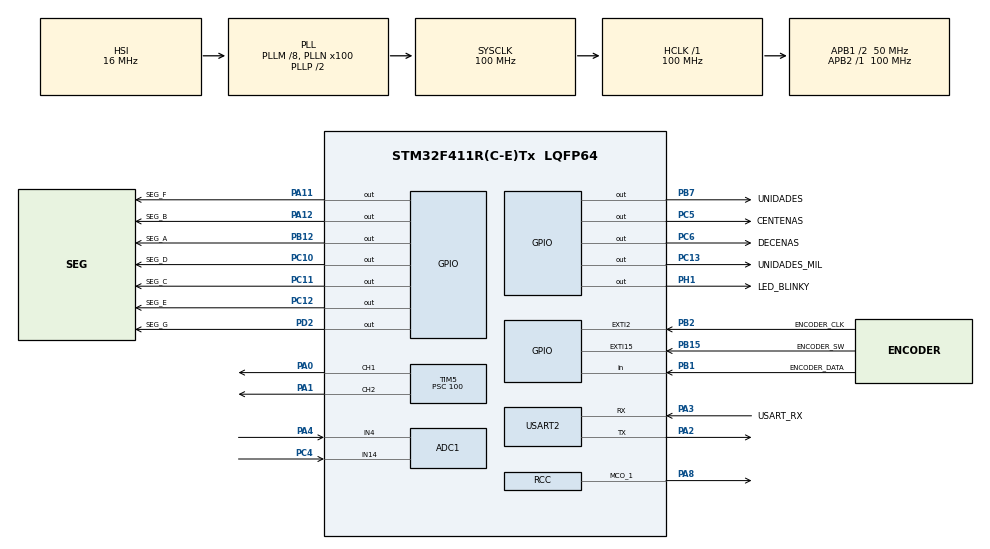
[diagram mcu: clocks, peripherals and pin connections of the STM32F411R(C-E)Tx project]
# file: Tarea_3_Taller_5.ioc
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ADC1.Channel-2\#ChannelRegularConversion=ADC_CHANNEL_4
ADC1.Channel-3\#ChannelRegularConversion=ADC_CHANNEL_14
ADC1.ContinuousConvMode=DISABLE
ADC1.DMAContinuousRequests=ENABLE
ADC1.ExternalTrigConv=ADC_SOFTWARE_START
ADC1.InjNumberOfConversion=0
ADC1.NbrOfConversion=2
ADC1.NbrOfConversionFlag=1
ADC1.Rank-2\#ChannelRegularConversion=1
ADC1.Rank-3\#ChannelRegularConversion=2
ADC1.SamplingTime-2\#ChannelRegularConversion=ADC_SAMPLETIME_15CYCLES
ADC1.SamplingTime-3\#ChannelRegularConversion=ADC_SAMPLETIME_15CYCLES
ADC1.ScanConvMode=ENABLE
ADC1.master=1
Dma.ADC1.0.Direction=DMA_PERIPH_TO_MEMORY
Dma.ADC1.0.FIFOMode=DMA_FIFOMODE_DISABLE
Dma.ADC1.0.Instance=DMA2_Stream0
Dma.ADC1.0.MemDataAlignment=DMA_MDATAALIGN_HALFWORD
Dma.ADC1.0.MemInc=DMA_MINC_ENABLE
Dma.ADC1.0.Mode=DMA_CIRCULAR
Dma.ADC1.0.PeriphDataAlignment=DMA_PDATAALIGN_HALFWORD
Dma.ADC1.0.PeriphInc=DMA_PINC_DISABLE
Dma.ADC1.0.Priority=DMA_PRIORITY_LOW
Dma.Request0=ADC1
Dma.Request1=USART2_RX
Dma.USART2_RX.1.Direction=DMA_PERIPH_TO_MEMORY
Dma.USART2_RX.1.FIFOMode=DMA_FIFOMODE_DISABLE
Dma.USART2_RX.1.Instance=DMA1_Stream5
Dma.USART2_RX.1.MemDataAlignment=DMA_MDATAALIGN_BYTE
Dma.USART2_RX.1.MemInc=DMA_MINC_ENABLE
Dma.USART2_RX.1.Mode=DMA_NORMAL
Dma.USART2_RX.1.PeriphDataAlignment=DMA_PDATAALIGN_BYTE
Dma.USART2_RX.1.PeriphInc=DMA_PINC_DISABLE
Dma.USART2_RX.1.Priority=DMA_PRIORITY_LOW
Mcu.Family=STM32F4
Mcu.Name=STM32F411R(C-E)Tx
Mcu.Package=LQFP64
NVIC.DMA1_Stream5_IRQn=true\:0\:0\:false\:false\:true\:false\:true\:true
NVIC.DMA2_Stream0_IRQn=true\:0\:0\:false\:false\:true\:false\:true\:true
NVIC.EXTI15_10_IRQn=true\:0\:0\:false\:false\:true\:true\:true\:true
NVIC.EXTI2_IRQn=true\:0\:0\:false\:false\:true\:true\:true\:true
NVIC.PriorityGroup=NVIC_PRIORITYGROUP_0
NVIC.TIM2_IRQn=true\:0\:0\:false\:false\:true\:true\:true\:true
NVIC.TIM3_IRQn=true\:0\:0\:false\:false\:true\:true\:true\:true
NVIC.USART2_IRQn=true\:0\:0\:false\:false\:true\:true\:true\:true
PA0-WKUP.Signal=S_TIM5_CH1
PA1.Signal=S_TIM5_CH2
PA11.GPIO_Label=SEG_F
PA11.GPIO_Speed=GPIO_SPEED_FREQ_HIGH
PA11.Signal=GPIO_Output
PA12.GPIO_Label=SEG_B
PA12.GPIO_Speed=GPIO_SPEED_FREQ_HIGH
PA12.Signal=GPIO_Output
PA14.GPIO_Label=TCK
PA14.Signal=SYS_JTCK-SWCLK
PA2.Mode=Asynchronous
PA2.Signal=USART2_TX
PA3.GPIO_Label=USART_RX
PA3.Mode=Asynchronous
PA3.Signal=USART2_RX
PA4.Signal=ADCx_IN4
PA8.GPIO_PuPd=GPIO_NOPULL
PA8.GPIO_Speed=GPIO_SPEED_FREQ_VERY_HIGH
PA8.Mode=Clock-out-1
PA8.Signal=RCC_MCO_1
PB1.GPIO_Label=ENCODER_DATA
PB1.Signal=GPIO_Input
PB12.GPIO_Label=SEG_A
PB12.GPIO_Speed=GPIO_SPEED_FREQ_HIGH
PB12.Signal=GPIO_Output
PB15.GPIO_Label=ENCODER_SW
PB15.GPIO_ModeDefaultEXTI=GPIO_MODE_IT_FALLING
PB15.Signal=GPXTI15
PB2.GPIO_Label=ENCODER_CLK
PB2.GPIO_ModeDefaultEXTI=GPIO_MODE_IT_FALLING
PB2.Signal=GPXTI2
PB3.GPIO_Label=SWO
PB3.Signal=SYS_JTDO-SWO
PB7.GPIO_Label=UNIDADES
PB7.GPIO_Speed=GPIO_SPEED_FREQ_HIGH
PB7.Signal=GPIO_Output
PC10.GPIO_Label=SEG_D
PC10.GPIO_Speed=GPIO_SPEED_FREQ_HIGH
PC10.Signal=GPIO_Output
PC11.GPIO_Label=SEG_C
PC11.GPIO_Speed=GPIO_SPEED_FREQ_HIGH
PC11.Signal=GPIO_Output
PC12.GPIO_Label=SEG_E
PC12.GPIO_Speed=GPIO_SPEED_FREQ_HIGH
PC12.Signal=GPIO_Output
PC13-ANTI_TAMP.GPIO_Label=UNIDADES_MIL
PC13-ANTI_TAMP.Signal=GPIO_Output
PC4.Signal=ADCx_IN14
PC5.GPIO_Label=CENTENAS
PC5.GPIO_Speed=GPIO_SPEED_FREQ_HIGH
PC5.Signal=GPIO_Output
PC6.GPIO_Label=DECENAS
PC6.GPIO_Speed=GPIO_SPEED_FREQ_HIGH
PC6.Signal=GPIO_Output
PD2.GPIO_Label=SEG_G
PD2.GPIO_Speed=GPIO_SPEED_FREQ_HIGH
PD2.Signal=GPIO_Output
PH1\ -\ OSC_OUT.GPIO_Label=LED_BLINKY
PH1\ -\ OSC_OUT.GPIO_Speed=GPIO_SPEED_FREQ_HIGH
PH1\ -\ OSC_OUT.Signal=GPIO_Output
ProjectManager.HeapSize=0x200
ProjectManager.StackSize=0x400
ProjectManager.TargetToolchain=STM32CubeIDE
RCC.48MHZClocksFreq_Value=50000000
RCC.AHBFreq_Value=100000000
RCC.APB1CLKDivider=RCC_HCLK_DIV2
RCC.APB1Freq_Value=50000000
RCC.APB1TimFreq_Value=100000000
RCC.APB2Freq_Value=100000000
RCC.APB2TimFreq_Value=100000000
RCC.CortexFreq_Value=100000000
RCC.FLatency-AdvancedSettings=FLASH_LATENCY_3
RCC.HCLKFreq_Value=100000000
RCC.HSE_VALUE=8000000
RCC.HSI_VALUE=16000000
RCC.LSE_VALUE=32768
RCC.PLLM=8
RCC.PLLN=100
RCC.RCC_MCO1Source=RCC_MCO1SOURCE_PLLCLK
RCC.RCC_MCODiv1=RCC_MCODIV_4
RCC.SYSCLKFreq_VALUE=100000000
RCC.SYSCLKSource=RCC_SYSCLKSOURCE_PLLCLK
RCC.VCOOutputFreq_Value=200000000
SH.ADCx_IN14.0=ADC1_IN14,IN14
SH.ADCx_IN4.0=ADC1_IN4,IN4
SH.S_TIM5_CH1.0=TIM5_CH1,PWM Generation1 CH1
SH.S_TIM5_CH2.0=TIM5_CH2,PWM Generation2 CH2
TIM2.Period=9999
TIM2.Prescaler=9999
TIM3.AutoReloadPreload=TIM_AUTORELOAD_PRELOAD_ENABLE
TIM3.Period=8
TIM3.Prescaler=50000
TIM5.AutoReloadPreload=TIM_AUTORELOAD_PRELOAD_ENABLE
TIM5.Channel-PWM\ Generation1\ CH1=TIM_CHANNEL_1
TIM5.Channel-PWM\ Generation2\ CH2=TIM_CHANNEL_2
TIM5.Period=10000
TIM5.Prescaler=100
USART2.VirtualMode=VM_ASYNC
VP_TIM2_VS_ClockSourceINT.Mode=Internal
VP_TIM3_VS_ClockSourceINT.Mode=Internal
board=NUCLEO-F411RE

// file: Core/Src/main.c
/* USER CODE BEGIN Header */
/**
 ******************************************************************************
 * @file           : main.c
 * @brief          : Main program body
 ******************************************************************************
 * @attention
 *
 * Copyright (c) 2025 STMicroelectronics.
 * All rights reserved.
 *
 * This software is licensed under terms that can be found in the LICENSE file
 * in the root directory of this software component.
 * If no LICENSE file comes with this software, it is provided AS-IS.
 *
 ******************************************************************************
 */
/* USER CODE END Header */
#include "main.h"

/* USER CODE BEGIN Includes */
#include <stdio.h>    // Para printf
#include <string.h>   // Para strcmp, strtok
#include <stdlib.h>   // Para atof, atoi
/* USER CODE END Includes */

/* USER CODE BEGIN PTD */
typedef enum {
	ESTADO_MENU,
	ESTADO_CONFIG_BJT,
	ESTADO_EJECUTANDO_BJT
} Estado_App_t;

// Modos de operación BJT
typedef enum {
	BJT_MODO_ICVB,  // Ic vs Vb (barrer base, fijar colector)
	BJT_MODO_ICVC   // Ic vs Vc (barrer colector, fijar base)
} BJT_Modo_t;

// Configuración de barrido BJT
typedef struct {
	BJT_Modo_t modo;
	float vb_fijo_mv;
	float vc_fijo_mv;
	float v_inicio_mv;
	float v_fin_mv;
	float v_paso_mv;
	uint16_t puntos;
} Config_BJT_t;

// Comandos disponibles
typedef enum {
	CMD_AYUDA,
	CMD_BJT,
	CMD_MODO,
	CMD_ESTABLECER,
	CMD_MOSTRAR,
	CMD_EJECUTAR,
	CMD_VOLVER,
	CMD_DESCONOCIDO
} Comando_ID_t;

// Estructura para la tabla de comandos
typedef struct {
	const char* texto;
	Comando_ID_t id;
} Tabla_Comando_t;

// Tabla de comandos
static const Tabla_Comando_t COMANDOS[] = {
		{"ayuda",      CMD_AYUDA},
		{"bjt",        CMD_BJT},
		{"modo",       CMD_MODO},
		{"establecer", CMD_ESTABLECER},
		{"mostrar",    CMD_MOSTRAR},
		{"ejecutar",   CMD_EJECUTAR},
		{"volver",     CMD_VOLVER}
};
/* USER CODE END PTD */

/* USER CODE BEGIN PD */
#define UART_RX_BUFFER_SIZE 128 // Tamaño del buffer de recepción UART
#define NUM_COMANDOS (sizeof(COMANDOS) / sizeof(COMANDOS[0]))

/* USER CODE END PD */

ADC_HandleTypeDef hadc1;
DMA_HandleTypeDef hdma_adc1;

TIM_HandleTypeDef htim2;
TIM_HandleTypeDef htim3;
TIM_HandleTypeDef htim5;

UART_HandleTypeDef huart2;
DMA_HandleTypeDef hdma_usart2_rx;

/* USER CODE BEGIN PV */

// Definir variables
volatile uint8_t TIMER_ADVISORY_FLAG = 0; // bandera para indicar que el timer ha interrumpido
volatile uint8_t EXTI_AVISORY_FLAG = 0; // bandera para indicar que el EXTI ha interrumpido
volatile uint8_t EXTI_AVISORY_LED_FLAG = 0;
//Se inicia en 0
uint16_t Tarifa = 0; // variable que guarda la tarifa actual
uint8_t Unidad_mil = 0;// variable que guarda las unidades de mil
uint8_t Centenas = 0; // variable que guarda las centenas
uint8_t Decenas = 0; // variable que guarda las decenas
uint8_t Unidades = 0;// variable que guarda las unidades

volatile uint16_t g_adc_resultados[2];
// Ping-pong DMA RX buffers (zero-copy processing)
uint8_t g_uart_rx_buffer_a[UART_RX_BUFFER_SIZE];
uint8_t g_uart_rx_buffer_b[UART_RX_BUFFER_SIZE];
// Pointer/length pair used as ISR -> main handshake
volatile uint8_t* g_uart_proc_buffer = NULL; // points to A or B when data ready
volatile uint16_t g_uart_proc_len = 0;        // number of valid bytes in buffer
volatile uint8_t g_uart_dma_active = 0;      // 0 = A active, 1 = B active

static Estado_App_t g_estado = ESTADO_MENU;
static Config_BJT_t g_config = {
		.modo = BJT_MODO_ICVB,
		.vb_fijo_mv = 0.0f,
		.vc_fijo_mv = 0.0f,
		.v_inicio_mv = 0.0f,
		.v_fin_mv = 0.0f,
		.v_paso_mv = 0.0f,
		.puntos = 0
};
DMA_HandleTypeDef hdma_usart2_rx;

/* USER CODE END PV */

void SystemClock_Config(void);
static void MX_GPIO_Init(void);
static void MX_DMA_Init(void);
static void MX_TIM2_Init(void);
static void MX_TIM3_Init(void);
static void MX_ADC1_Init(void);
static void MX_TIM5_Init(void);
static void MX_USART2_UART_Init(void);
/* USER CODE BEGIN PFP */
void lightNumber(uint8_t number);
static void mostrar_menu_principal(void);
static void mostrar_config_bjt(void);
static Comando_ID_t buscar_comando(const char* texto);
static void analizar_y_ejecutar_comando(uint8_t* buffer, uint16_t tam);
static void despachar_comando(Comando_ID_t id, char* params);
static void manejar_menu(Comando_ID_t id, char* params);
static void manejar_config_bjt(Comando_ID_t id, char* params);
static void manejar_ejecucion_bjt(Comando_ID_t id);
static void tick_barrido_bjt(void);

static uint16_t leer_canal_adc(uint32_t channel);
extern void setear_voltaje_base_mv(float v);
extern void setear_voltaje_colector_mv(float v);
extern float leer_voltaje_base_mv(void);
extern float leer_voltaje_colector_mv(void);
extern float leer_corriente_colector_ma(void);
/* USER CODE END PFP */

/* USER CODE BEGIN 0 */

// Redirección de printf a UART2
#ifdef __GNUC__
/* Con GCC, small printf set a unbuffered output */
#define PUTCHAR_PROTOTYPE int __io_putchar(int ch)
#else
#define PUTCHAR_PROTOTYPE int fputc(int ch, FILE *f)
#endif /* __GNUC__ */

PUTCHAR_PROTOTYPE
{
	HAL_UART_Transmit(&huart2, (uint8_t *)&ch, 1, 0xFFFF);
	return ch;
}

int _write(int file, char *ptr, int len)
{
	HAL_UART_Transmit(&huart2, (uint8_t *)ptr, len, 0xFFFF);
	return len;
}

/* USER CODE END 0 */

int main(void)
{

  /* MCU Configuration--------------------------------------------------------*/

  /* Reset of all peripherals, Initializes the Flash interface and the Systick. */
  HAL_Init();

  /* Configure the system clock */
  SystemClock_Config();

  /* Initialize all configured peripherals */
  MX_GPIO_Init();
  MX_DMA_Init();
  MX_TIM2_Init();
  MX_TIM3_Init();
  MX_ADC1_Init();
  MX_TIM5_Init();
  MX_USART2_UART_Init();
  /* USER CODE BEGIN 2 */
	HAL_TIM_Base_Start_IT(&htim2); // Tu Blinky
	HAL_TIM_Base_Start_IT(&htim3); // Tu Display

	HAL_NVIC_EnableIRQ(EXTI15_10_IRQn);
	HAL_NVIC_EnableIRQ(EXTI2_IRQn);

	// --- INICIAR NUEVO HARDWARE ---
	// Iniciar AMBOS canales del TIM5
	HAL_TIM_PWM_Start(&htim5, TIM_CHANNEL_1); // Vc en Canal 1
	HAL_TIM_PWM_Start(&htim5, TIM_CHANNEL_2); // Vb en Canal 2

	// Iniciar el ADC en modo DMA circular
	HAL_ADC_Start_DMA(&hadc1, (uint32_t*)g_adc_resultados, 2);

	// --- INICIAR UART DMA (ping-pong: empezar en buffer A) ---
	// Se arranca la recepción en el buffer A; el callback cambiará al otro.
	g_uart_dma_active = 0; // DMA escribirá en A
	HAL_UARTEx_ReceiveToIdle_DMA(&huart2, g_uart_rx_buffer_a, UART_RX_BUFFER_SIZE);

	mostrar_menu_principal(); // Mostrar menú al inicio

  /* USER CODE END 2 */

  /* Infinite loop */
  /* USER CODE BEGIN WHILE */
	while (1)
	{

		if (TIMER_ADVISORY_FLAG) //trabajo del timer dentro del while
		{
			static uint8_t contador = 0;
			contador++;
			if (contador > 3) contador = 0; // reiniciar el contador cada 3 interrupciones
			HAL_GPIO_WritePin(UNIDADES_GPIO_Port, UNIDADES_Pin, GPIO_PIN_SET);
			HAL_GPIO_WritePin(DECENAS_GPIO_Port, DECENAS_Pin, GPIO_PIN_SET);
			HAL_GPIO_WritePin(CENTENAS_GPIO_Port, CENTENAS_Pin, GPIO_PIN_SET);
			HAL_GPIO_WritePin(UNIDADES_MIL_GPIO_Port, UNIDADES_MIL_Pin, GPIO_PIN_SET);

			switch(contador){
			case 0:
				// encender unidades
				lightNumber(Unidades); // llamar a la función para encender el número
				HAL_GPIO_WritePin(UNIDADES_GPIO_Port, UNIDADES_Pin, GPIO_PIN_RESET);

				break;
			case 1:
				// encender decenas
				lightNumber(Decenas); // llamar a la función para encender el número
				HAL_GPIO_WritePin(DECENAS_GPIO_Port, DECENAS_Pin, GPIO_PIN_RESET);
				break;
			case 2:
				// encender centenas
				lightNumber(Centenas); // llamar a la función para encender el número
				HAL_GPIO_WritePin(CENTENAS_GPIO_Port, CENTENAS_Pin, GPIO_PIN_RESET);
				break;
			case 3:
				// encender unidades de mil
				lightNumber(Unidad_mil); // llamar a la función para encender el número
				HAL_GPIO_WritePin(UNIDADES_MIL_GPIO_Port, UNIDADES_MIL_Pin, GPIO_PIN_RESET);
				break;
			default:
				break;
			}
			TIMER_ADVISORY_FLAG = 0; // bajar la bandera de interrupción
		}

		if (EXTI_AVISORY_LED_FLAG)
		{

			// El incremento es 50 (equivale a 5ms con tick de 10kHz)
			htim3.Instance->ARR += 50;

			// El valor de reseteo es 509 (59 + 9 * 50)
			if (htim3.Instance->ARR > 509) // Usar '>' por seguridad
			{
				// El valor base es 59 (equivale a 6ms)
				htim3.Instance->ARR = 59;
			}
			EXTI_AVISORY_LED_FLAG = 0;
		}

		if (EXTI_AVISORY_FLAG) //trabajo del EXTI dentro del while
		{
			EXTI_AVISORY_FLAG = 0; // bajar la bandera de interrupción

			//Revisar el estado del pin DT para determinar la dirección del giro
			if (HAL_GPIO_ReadPin(ENCODER_DATA_GPIO_Port, ENCODER_DATA_Pin) == GPIO_PIN_SET){
				Tarifa++; // incrementar la tarifa
				if (Tarifa > 4095) Tarifa = 0; // reiniciar la tarifa si supera 4095
			} else {
				if (Tarifa > 0) Tarifa--; // decrementar la tarifa
				else if (Tarifa == 0) Tarifa = 4095; // reiniciar si la tarifa es igual a 0
			}
			// actualizar las variables de las cifras de la tarifa
			Unidad_mil = Tarifa / 1000;
			Centenas = (Tarifa % 1000) / 100;
			Decenas = (Tarifa % 100) / 10;
			Unidades = Tarifa % 10;
			//Dentro de la rutina de servicio de interrupción del EXTI no se debe hacer nada más que subir una bandera
			//y hacer el trabajo pesado en el while principal

		}

		// --- Nuevo flujo ping-pong: procesar buffer marcado por ISR ---
		if (g_uart_proc_len > 0 && g_uart_proc_buffer != NULL)
		{
			// Claim the packet: copy volatile values to locals, then clear the shared ones
			uint8_t* proc_buf = (uint8_t*)g_uart_proc_buffer;
			uint16_t len = g_uart_proc_len;

			// Clear handshake immediately to mark "consumed"
			g_uart_proc_buffer = NULL;
			g_uart_proc_len = 0;

			// Ensure null-termination for safe C-string operations
			if (len >= UART_RX_BUFFER_SIZE) {
				proc_buf[UART_RX_BUFFER_SIZE - 1] = '\0';
			} else {
				proc_buf[len] = '\0';
			}

			printf("\r\n");
			analizar_y_ejecutar_comando(proc_buf, len);
		}

		/* --- Tarea 3: Máquina de Estados BJT (No bloqueante) --- */
		// Esta función solo hace trabajo si g_estado == ESTADO_EJECUTANDO_BJT
		tick_barrido_bjt();

    /* USER CODE END WHILE */

	}
}

void SystemClock_Config(void)
{
  RCC_OscInitTypeDef RCC_OscInitStruct = {0};
  RCC_ClkInitTypeDef RCC_ClkInitStruct = {0};

  /** Configure the main internal regulator output voltage
  */
  __HAL_RCC_PWR_CLK_ENABLE();
  __HAL_PWR_VOLTAGESCALING_CONFIG(PWR_REGULATOR_VOLTAGE_SCALE1);

  /** Initializes the RCC Oscillators according to the specified parameters
  * in the RCC_OscInitTypeDef structure.
  */
  RCC_OscInitStruct.OscillatorType = RCC_OSCILLATORTYPE_HSI;
  RCC_OscInitStruct.HSIState = RCC_HSI_ON;
  RCC_OscInitStruct.HSICalibrationValue = RCC_HSICALIBRATION_DEFAULT;
  RCC_OscInitStruct.PLL.PLLState = RCC_PLL_ON;
  RCC_OscInitStruct.PLL.PLLSource = RCC_PLLSOURCE_HSI;
  RCC_OscInitStruct.PLL.PLLM = 8;
  RCC_OscInitStruct.PLL.PLLN = 100;
  RCC_OscInitStruct.PLL.PLLP = RCC_PLLP_DIV2;
  RCC_OscInitStruct.PLL.PLLQ = 4;
  if (HAL_RCC_OscConfig(&RCC_OscInitStruct) != HAL_OK)
  {
    Error_Handler();
  }

  /** Initializes the CPU, AHB and APB buses clocks
  */
  RCC_ClkInitStruct.ClockType = RCC_CLOCKTYPE_HCLK|RCC_CLOCKTYPE_SYSCLK
                              |RCC_CLOCKTYPE_PCLK1|RCC_CLOCKTYPE_PCLK2;
  RCC_ClkInitStruct.SYSCLKSource = RCC_SYSCLKSOURCE_PLLCLK;
  RCC_ClkInitStruct.AHBCLKDivider = RCC_SYSCLK_DIV1;
  RCC_ClkInitStruct.APB1CLKDivider = RCC_HCLK_DIV2;
  RCC_ClkInitStruct.APB2CLKDivider = RCC_HCLK_DIV1;

  if (HAL_RCC_ClockConfig(&RCC_ClkInitStruct, FLASH_LATENCY_3) != HAL_OK)
  {
    Error_Handler();
  }
  HAL_RCC_MCOConfig(RCC_MCO1, RCC_MCO1SOURCE_PLLCLK, RCC_MCODIV_4);
}

static void MX_ADC1_Init(void)
{

  ADC_ChannelConfTypeDef sConfig = {0};

  /** Configure the global features of the ADC (Clock, Resolution, Data Alignment and number of conversion)
  */
  hadc1.Instance = ADC1;
  hadc1.Init.ClockPrescaler = ADC_CLOCK_SYNC_PCLK_DIV4;
  hadc1.Init.Resolution = ADC_RESOLUTION_12B;
  hadc1.Init.ScanConvMode = ENABLE;
  hadc1.Init.ContinuousConvMode = DISABLE;
  hadc1.Init.DiscontinuousConvMode = DISABLE;
  hadc1.Init.ExternalTrigConvEdge = ADC_EXTERNALTRIGCONVEDGE_NONE;
  hadc1.Init.ExternalTrigConv = ADC_SOFTWARE_START;
  hadc1.Init.DataAlign = ADC_DATAALIGN_RIGHT;
  hadc1.Init.NbrOfConversion = 2;
  hadc1.Init.DMAContinuousRequests = ENABLE;
  hadc1.Init.EOCSelection = ADC_EOC_SINGLE_CONV;
  if (HAL_ADC_Init(&hadc1) != HAL_OK)
  {
    Error_Handler();
  }

  /** Configure for the selected ADC regular channel its corresponding rank in the sequencer and its sample time.
  */
  sConfig.Channel = ADC_CHANNEL_4;
  sConfig.Rank = 1;
  sConfig.SamplingTime = ADC_SAMPLETIME_15CYCLES;
  if (HAL_ADC_ConfigChannel(&hadc1, &sConfig) != HAL_OK)
  {
    Error_Handler();
  }

  /** Configure for the selected ADC regular channel its corresponding rank in the sequencer and its sample time.
  */
  sConfig.Channel = ADC_CHANNEL_14;
  sConfig.Rank = 2;
  if (HAL_ADC_ConfigChannel(&hadc1, &sConfig) != HAL_OK)
  {
    Error_Handler();
  }

}

static void MX_TIM2_Init(void)
{

  TIM_ClockConfigTypeDef sClockSourceConfig = {0};
  TIM_MasterConfigTypeDef sMasterConfig = {0};

  htim2.Instance = TIM2;
  htim2.Init.Prescaler = 9999;
  htim2.Init.CounterMode = TIM_COUNTERMODE_UP;
  htim2.Init.Period = 9999;
  htim2.Init.ClockDivision = TIM_CLOCKDIVISION_DIV1;
  htim2.Init.AutoReloadPreload = TIM_AUTORELOAD_PRELOAD_DISABLE;
  if (HAL_TIM_Base_Init(&htim2) != HAL_OK)
  {
    Error_Handler();
  }
  sClockSourceConfig.ClockSource = TIM_CLOCKSOURCE_INTERNAL;
  if (HAL_TIM_ConfigClockSource(&htim2, &sClockSourceConfig) != HAL_OK)
  {
    Error_Handler();
  }
  sMasterConfig.MasterOutputTrigger = TIM_TRGO_RESET;
  sMasterConfig.MasterSlaveMode = TIM_MASTERSLAVEMODE_DISABLE;
  if (HAL_TIMEx_MasterConfigSynchronization(&htim2, &sMasterConfig) != HAL_OK)
  {
    Error_Handler();
  }

}

static void MX_TIM3_Init(void)
{

  TIM_ClockConfigTypeDef sClockSourceConfig = {0};
  TIM_MasterConfigTypeDef sMasterConfig = {0};

  htim3.Instance = TIM3;
  htim3.Init.Prescaler = 50000;
  htim3.Init.CounterMode = TIM_COUNTERMODE_UP;
  htim3.Init.Period = 8;
  htim3.Init.ClockDivision = TIM_CLOCKDIVISION_DIV1;
  htim3.Init.AutoReloadPreload = TIM_AUTORELOAD_PRELOAD_ENABLE;
  if (HAL_TIM_Base_Init(&htim3) != HAL_OK)
  {
    Error_Handler();
  }
  sClockSourceConfig.ClockSource = TIM_CLOCKSOURCE_INTERNAL;
  if (HAL_TIM_ConfigClockSource(&htim3, &sClockSourceConfig) != HAL_OK)
  {
    Error_Handler();
  }
  sMasterConfig.MasterOutputTrigger = TIM_TRGO_RESET;
  sMasterConfig.MasterSlaveMode = TIM_MASTERSLAVEMODE_DISABLE;
  if (HAL_TIMEx_MasterConfigSynchronization(&htim3, &sMasterConfig) != HAL_OK)
  {
    Error_Handler();
  }

}

static void MX_TIM5_Init(void)
{

  TIM_MasterConfigTypeDef sMasterConfig = {0};
  TIM_OC_InitTypeDef sConfigOC = {0};

  htim5.Instance = TIM5;
  htim5.Init.Prescaler = 100;
  htim5.Init.CounterMode = TIM_COUNTERMODE_UP;
  htim5.Init.Period = 10000;
  htim5.Init.ClockDivision = TIM_CLOCKDIVISION_DIV1;
  htim5.Init.AutoReloadPreload = TIM_AUTORELOAD_PRELOAD_ENABLE;
  if (HAL_TIM_PWM_Init(&htim5) != HAL_OK)
  {
    Error_Handler();
  }
  sMasterConfig.MasterOutputTrigger = TIM_TRGO_RESET;
  sMasterConfig.MasterSlaveMode = TIM_MASTERSLAVEMODE_DISABLE;
  if (HAL_TIMEx_MasterConfigSynchronization(&htim5, &sMasterConfig) != HAL_OK)
  {
    Error_Handler();
  }
  sConfigOC.OCMode = TIM_OCMODE_PWM1;
  sConfigOC.Pulse = 0;
  sConfigOC.OCPolarity = TIM_OCPOLARITY_HIGH;
  sConfigOC.OCFastMode = TIM_OCFAST_DISABLE;
  if (HAL_TIM_PWM_ConfigChannel(&htim5, &sConfigOC, TIM_CHANNEL_1) != HAL_OK)
  {
    Error_Handler();
  }
  if (HAL_TIM_PWM_ConfigChannel(&htim5, &sConfigOC, TIM_CHANNEL_2) != HAL_OK)
  {
    Error_Handler();
  }
  HAL_TIM_MspPostInit(&htim5);

}

static void MX_USART2_UART_Init(void)
{

  huart2.Instance = USART2;
  huart2.Init.BaudRate = 115200;
  huart2.Init.WordLength = UART_WORDLENGTH_8B;
  huart2.Init.StopBits = UART_STOPBITS_1;
  huart2.Init.Parity = UART_PARITY_NONE;
  huart2.Init.Mode = UART_MODE_TX_RX;
  huart2.Init.HwFlowCtl = UART_HWCONTROL_NONE;
  huart2.Init.OverSampling = UART_OVERSAMPLING_16;
  if (HAL_UART_Init(&huart2) != HAL_OK)
  {
    Error_Handler();
  }

}

static void MX_DMA_Init(void)
{

  /* DMA controller clock enable */
  __HAL_RCC_DMA2_CLK_ENABLE();
  __HAL_RCC_DMA1_CLK_ENABLE();

  /* DMA interrupt init */
  /* DMA1_Stream5_IRQn interrupt configuration */
  HAL_NVIC_SetPriority(DMA1_Stream5_IRQn, 0, 0);
  HAL_NVIC_EnableIRQ(DMA1_Stream5_IRQn);
  /* DMA2_Stream0_IRQn interrupt configuration */
  HAL_NVIC_SetPriority(DMA2_Stream0_IRQn, 0, 0);
  HAL_NVIC_EnableIRQ(DMA2_Stream0_IRQn);

}

static void MX_GPIO_Init(void)
{
  GPIO_InitTypeDef GPIO_InitStruct = {0};

  /* GPIO Ports Clock Enable */
  __HAL_RCC_GPIOC_CLK_ENABLE();
  __HAL_RCC_GPIOH_CLK_ENABLE();
  __HAL_RCC_GPIOA_CLK_ENABLE();
  __HAL_RCC_GPIOB_CLK_ENABLE();
  __HAL_RCC_GPIOD_CLK_ENABLE();

  /*Configure GPIO pin Output Level */
  HAL_GPIO_WritePin(GPIOC, UNIDADES_MIL_Pin|CENTENAS_Pin|DECENAS_Pin|SEG_D_Pin
                          |SEG_C_Pin|SEG_E_Pin, GPIO_PIN_RESET);

  /*Configure GPIO pin Output Level */
  HAL_GPIO_WritePin(LED_BLINKY_GPIO_Port, LED_BLINKY_Pin, GPIO_PIN_RESET);

  /*Configure GPIO pin Output Level */
  HAL_GPIO_WritePin(GPIOB, SEG_A_Pin|UNIDADES_Pin, GPIO_PIN_RESET);

  /*Configure GPIO pin Output Level */
  HAL_GPIO_WritePin(GPIOA, SEG_F_Pin|SEG_B_Pin, GPIO_PIN_RESET);

  /*Configure GPIO pin Output Level */
  HAL_GPIO_WritePin(SEG_G_GPIO_Port, SEG_G_Pin, GPIO_PIN_RESET);

  /*Configure GPIO pin : UNIDADES_MIL_Pin */
  GPIO_InitStruct.Pin = UNIDADES_MIL_Pin;
  GPIO_InitStruct.Mode = GPIO_MODE_OUTPUT_PP;
  GPIO_InitStruct.Pull = GPIO_NOPULL;
  GPIO_InitStruct.Speed = GPIO_SPEED_FREQ_LOW;
  HAL_GPIO_Init(UNIDADES_MIL_GPIO_Port, &GPIO_InitStruct);

  /*Configure GPIO pin : LED_BLINKY_Pin */
  GPIO_InitStruct.Pin = LED_BLINKY_Pin;
  GPIO_InitStruct.Mode = GPIO_MODE_OUTPUT_PP;
  GPIO_InitStruct.Pull = GPIO_NOPULL;
  GPIO_InitStruct.Speed = GPIO_SPEED_FREQ_HIGH;
  HAL_GPIO_Init(LED_BLINKY_GPIO_Port, &GPIO_InitStruct);

  /*Configure GPIO pins : CENTENAS_Pin DECENAS_Pin SEG_D_Pin SEG_C_Pin
                           SEG_E_Pin */
  GPIO_InitStruct.Pin = CENTENAS_Pin|DECENAS_Pin|SEG_D_Pin|SEG_C_Pin
                          |SEG_E_Pin;
  GPIO_InitStruct.Mode = GPIO_MODE_OUTPUT_PP;
  GPIO_InitStruct.Pull = GPIO_NOPULL;
  GPIO_InitStruct.Speed = GPIO_SPEED_FREQ_HIGH;
  HAL_GPIO_Init(GPIOC, &GPIO_InitStruct);

  /*Configure GPIO pin : ENCODER_DATA_Pin */
  GPIO_InitStruct.Pin = ENCODER_DATA_Pin;
  GPIO_InitStruct.Mode = GPIO_MODE_INPUT;
  GPIO_InitStruct.Pull = GPIO_NOPULL;
  HAL_GPIO_Init(ENCODER_DATA_GPIO_Port, &GPIO_InitStruct);

  /*Configure GPIO pins : ENCODER_CLK_Pin ENCODER_SW_Pin */
  GPIO_InitStruct.Pin = ENCODER_CLK_Pin|ENCODER_SW_Pin;
  GPIO_InitStruct.Mode = GPIO_MODE_IT_FALLING;
  GPIO_InitStruct.Pull = GPIO_NOPULL;
  HAL_GPIO_Init(GPIOB, &GPIO_InitStruct);

  /*Configure GPIO pins : SEG_A_Pin UNIDADES_Pin */
  GPIO_InitStruct.Pin = SEG_A_Pin|UNIDADES_Pin;
  GPIO_InitStruct.Mode = GPIO_MODE_OUTPUT_PP;
  GPIO_InitStruct.Pull = GPIO_NOPULL;
  GPIO_InitStruct.Speed = GPIO_SPEED_FREQ_HIGH;
  HAL_GPIO_Init(GPIOB, &GPIO_InitStruct);

  /*Configure GPIO pin : PA8 */
  GPIO_InitStruct.Pin = GPIO_PIN_8;
  GPIO_InitStruct.Mode = GPIO_MODE_AF_PP;
  GPIO_InitStruct.Pull = GPIO_NOPULL;
  GPIO_InitStruct.Speed = GPIO_SPEED_FREQ_VERY_HIGH;
  GPIO_InitStruct.Alternate = GPIO_AF0_MCO;
  HAL_GPIO_Init(GPIOA, &GPIO_InitStruct);

  /*Configure GPIO pins : SEG_F_Pin SEG_B_Pin */
  GPIO_InitStruct.Pin = SEG_F_Pin|SEG_B_Pin;
  GPIO_InitStruct.Mode = GPIO_MODE_OUTPUT_PP;
  GPIO_InitStruct.Pull = GPIO_NOPULL;
  GPIO_InitStruct.Speed = GPIO_SPEED_FREQ_HIGH;
  HAL_GPIO_Init(GPIOA, &GPIO_InitStruct);

  /*Configure GPIO pin : SEG_G_Pin */
  GPIO_InitStruct.Pin = SEG_G_Pin;
  GPIO_InitStruct.Mode = GPIO_MODE_OUTPUT_PP;
  GPIO_InitStruct.Pull = GPIO_NOPULL;
  GPIO_InitStruct.Speed = GPIO_SPEED_FREQ_HIGH;
  HAL_GPIO_Init(SEG_G_GPIO_Port, &GPIO_InitStruct);

  /* EXTI interrupt init*/
  HAL_NVIC_SetPriority(EXTI2_IRQn, 0, 0);
  HAL_NVIC_EnableIRQ(EXTI2_IRQn);

  HAL_NVIC_SetPriority(EXTI15_10_IRQn, 0, 0);
  HAL_NVIC_EnableIRQ(EXTI15_10_IRQn);

}

/* USER CODE BEGIN 4 */

void mostrar_menu_principal(void) {
	const char* menu =
			"\r\n=== Analizador BJT ===\r\n"
			"Comandos disponibles:\r\n"
			"1. bjt - Entrar al menú de configuración BJT\r\n"
			"2. ayuda - Mostrar este menú\r\n"
			"\r\n> ";
	printf(menu);
}

void mostrar_config_bjt(void) {
	printf("\r\n--- CONFIGURACIÓN BJT ---\r\n");
	printf("Modo      : %s\r\n", (g_config.modo == BJT_MODO_ICVB) ? "Ic vs Vb" : "Ic vs Vc");
	printf("Vb fijo   : %.1f mV\r\n", g_config.vb_fijo_mv);
	printf("Vc fijo   : %.1f mV\r\n", g_config.vc_fijo_mv);
	printf("Inicio    : %.1f mV\r\n", g_config.v_inicio_mv);
	printf("Fin       : %.1f mV\r\n", g_config.v_fin_mv);
	printf("Paso      : %.1f mV\r\n", g_config.v_paso_mv);
	printf("Puntos    : %u\r\n",    g_config.puntos);
	printf("Comandos:\r\n");
	printf("  modo icvb | modo icvc\r\n");
	printf("  establecer [vb|vc|inicio|fin|paso|puntos] <valor>\r\n");
	printf("  mostrar | ayuda\r\n");
	printf("  ejecutar\r\n");
	printf("  volver\r\n\r\n> ");
}

static Comando_ID_t buscar_comando(const char* texto) {
	for (size_t i = 0; i < NUM_COMANDOS; i++) {
		if (strcmp(texto, COMANDOS[i].texto) == 0) {
			return COMANDOS[i].id;
		}
	}
	return CMD_DESCONOCIDO;
}

static void analizar_y_ejecutar_comando(uint8_t* buffer, uint16_t tamaño)
{

	char* texto_comando = strtok((char*)buffer, " \r\n");
	char* parametros    = strtok(NULL, ""); // El resto de la línea

	if (texto_comando == NULL) {
		printf("> ");
		return; // Buffer vacío o solo espacios
	}

	Comando_ID_t id = buscar_comando(texto_comando);
	despachar_comando(id, parametros);
}

static void despachar_comando(Comando_ID_t id, char* params) {
	switch (g_estado) {
	case ESTADO_MENU:
		manejar_menu(id, params);
		break;
	case ESTADO_CONFIG_BJT:
		manejar_config_bjt(id, params);
		break;
	case ESTADO_EJECUTANDO_BJT:
		manejar_ejecucion_bjt(id);
		break;
	}
}

static void manejar_menu(Comando_ID_t id, char* params) {
	switch (id) {
	case CMD_AYUDA:
		mostrar_menu_principal();
		break;
	case CMD_BJT:
		g_estado = ESTADO_CONFIG_BJT;
		mostrar_config_bjt();
		break;
	default:
		printf("Comando inválido. Use 'ayuda'.\r\n> ");
		break;
	}
}

static void manejar_config_bjt(Comando_ID_t id, char* params) {
	switch (id) {
	case CMD_AYUDA:
	case CMD_MOSTRAR:
		if (params != NULL) {
			// Allow: mostrar vb | mostrar vc | mostrar ic
			if (strcmp(params, "vb") == 0) {
				float vb = leer_voltaje_base_mv();
				printf("Vb medido: %.2f mV\r\n> ", vb);
				break;
			} else if (strcmp(params, "vc") == 0) {
				float vc = leer_voltaje_colector_mv();
				printf("Vc medido: %.2f mV\r\n> ", vc);
				break;
			} else if (strcmp(params, "ic") == 0) {
				float ic = leer_corriente_colector_ma();
				printf("Ic medido: %.3f mA\r\n> ", ic);
				break;
			}
		}
		// Default: show configuration
		mostrar_config_bjt();
		break;

	case CMD_MODO:
		if (!params) {
			printf("Uso: modo [icvb|icvc]\r\n> ");
		} else if (strcmp(params, "icvb") == 0) {
			g_config.modo = BJT_MODO_ICVB;
			printf("Modo: Ic vs Vb\r\n> ");
		} else if (strcmp(params, "icvc") == 0) {
			g_config.modo = BJT_MODO_ICVC;
			printf("Modo: Ic vs Vc\r\n> ");
		} else {
			printf("Modo inválido. Use 'icvb' o 'icvc'.\r\n> ");
		}
		break;

	case CMD_ESTABLECER: {
		if (!params) {
			printf("Uso: establecer [param] <valor>\r\n> ");
			break;
		}

		char* param = strtok(params, " ");
		char* valor = strtok(NULL, " \r\n");

		if (!param || !valor) {
			printf("Parámetros incompletos.\r\n> ");
			break;
		}

		if (strcmp(param, "puntos") == 0) {
			g_config.puntos = (uint16_t)atoi(valor);
		} else {
			float v = atof(valor);
			if (strcmp(param, "vb") == 0)         g_config.vb_fijo_mv = v;
			else if (strcmp(param, "vc") == 0)    g_config.vc_fijo_mv = v;
			else if (strcmp(param, "inicio") == 0) g_config.v_inicio_mv = v;
			else if (strcmp(param, "fin") == 0)    g_config.v_fin_mv = v;
			else if (strcmp(param, "paso") == 0)   g_config.v_paso_mv = v;
			else {
				printf("Parámetro '%s' inválido.\r\n> ", param);
				break;
			}
		}

		// Apply immediately when setting vb/vc so user can control outputs directly
		if (strcmp(param, "vb") == 0) {
			setear_voltaje_base_mv((float)atof(valor));
		}
		else if (strcmp(param, "vc") == 0) {
			setear_voltaje_colector_mv((float)atof(valor));
		}

		printf("Actualizado: %s = %s\r\n> ", param, valor);
		break;
	}

	case CMD_EJECUTAR:
		printf("Iniciando barrido...\r\n");
		// Encabezados de la tabla CSV
		printf("Indice,Vb_mV,Vc_mV,Ic_mA\r\n");
		g_estado = ESTADO_EJECUTANDO_BJT;
		// El barrido se ejecuta en tick_barrido_bjt()
		break;

	case CMD_VOLVER:
		g_estado = ESTADO_MENU;
		mostrar_menu_principal();
		break;

	default:
		printf("Comando inválido. Use 'mostrar' o 'ayuda'.\r\n> ");
		break;
	}
}

static void manejar_ejecucion_bjt(Comando_ID_t id) {
	// Durante la ejecución, cualquier comando detiene el barrido
	printf("\r\n¡Barrido abortado por el usuario!\r\n");
	g_estado = ESTADO_CONFIG_BJT;
	mostrar_config_bjt();
}

static void tick_barrido_bjt(void) {
	static uint16_t indice = 0;
	static uint8_t activo = 0;

	// Solo operar en estado de ejecución
	if (g_estado != ESTADO_EJECUTANDO_BJT) {
		activo = 0; // Resetea el estado si salimos de ejecución
		return;
	}

	// Inicializar al entrar
	if (!activo) {
		indice = 0;
		activo = 1;
		// TODO: Inicializar hardware (DAC, ADC, etc.) si es necesario
	}

	// Verificar fin del barrido
	if (g_config.puntos == 0 || (g_config.v_paso_mv == 0 && g_config.puntos > 1)) {
		printf("Error: 'puntos' o 'paso' no configurados.\r\n");
		g_estado = ESTADO_CONFIG_BJT;
		mostrar_config_bjt();
		return;
	}

	if (indice >= g_config.puntos) {
		printf("Barrido completado.\r\n");
		g_estado = ESTADO_CONFIG_BJT;
		mostrar_config_bjt();
		return;
	}

	// Calcular voltaje de barrido
	float v_barrido = g_config.v_inicio_mv + (float)indice * g_config.v_paso_mv;

	// Aplicar voltajes según modo
	float vb_aplicado, vc_aplicado;
	if (g_config.modo == BJT_MODO_ICVB) {
		vb_aplicado = v_barrido;
		vc_aplicado = g_config.vc_fijo_mv;
	} else { // BJT_MODO_ICVC
		vb_aplicado = g_config.vb_fijo_mv;
		vc_aplicado = v_barrido;
	}

	setear_voltaje_base_mv(vb_aplicado);
	setear_voltaje_colector_mv(vc_aplicado);

	// TODO: Implementar "delay" de asentamiento apropiado

	// Medir valores
	float vb_medido = leer_voltaje_base_mv();
	float vc_medido = leer_voltaje_colector_mv();
	float ic_medido = leer_corriente_colector_ma();

	// Transmitir datos en formato CSV
	printf("%u,%.2f,%.2f,%.3f\r\n", indice, vb_medido, vc_medido, ic_medido);

	indice++;
}

static uint16_t leer_canal_adc(uint32_t channel) {
	ADC_ChannelConfTypeDef sConfig = {0};
	uint32_t adc_sum = 0;
	uint16_t adc_value = 0;
	const int num_samples = 16;

	sConfig.Channel = channel;
	sConfig.Rank = 1;
	sConfig.SamplingTime = ADC_SAMPLETIME_144CYCLES;
	if (HAL_ADC_ConfigChannel(&hadc1, &sConfig) != HAL_OK) {
		return 0;
	}

	for (int i = 0; i < num_samples; i++) {
		HAL_ADC_Start(&hadc1);
		if (HAL_ADC_PollForConversion(&hadc1, 100) == HAL_OK) {
			adc_sum += HAL_ADC_GetValue(&hadc1);
		}
	}
	adc_value = adc_sum / num_samples;
	return adc_value;
}

void setear_voltaje_base_mv(float v_mv) {
	if (v_mv < 0) v_mv = 0;
	if (v_mv > 3300) v_mv = 3300;
	// Map voltage to current timer ARR (supports non-1023 ARR)
	uint32_t arr = htim5.Instance->ARR;
	uint16_t pwm_val = (uint16_t)((v_mv / 3300.0f) * (float)arr);
	// Base is on TIM_CHANNEL_2 (hardware: channel2 -> Vb)
	__HAL_TIM_SET_COMPARE(&htim5, TIM_CHANNEL_2, pwm_val);
}

void setear_voltaje_colector_mv(float v_mv) {
	if (v_mv < 0) v_mv = 0;
	if (v_mv > 3300) v_mv = 3300;
	// Map voltage to current timer ARR (supports non-1023 ARR)
	uint32_t arr = htim5.Instance->ARR;
	uint16_t pwm_val = (uint16_t)((v_mv / 3300.0f) * (float)arr);
	// Colector is on TIM_CHANNEL_1 (hardware: channel1 -> Vc)
	__HAL_TIM_SET_COMPARE(&htim5, TIM_CHANNEL_1, pwm_val);
}

float leer_voltaje_base_mv(void) {
	// ADC configured channels: ADC_CHANNEL_4 (rank 1) and ADC_CHANNEL_14 (rank 2)
	// La medición de Vb corresponde al canal ADC_CHANNEL_4
	uint16_t adc_raw = leer_canal_adc(ADC_CHANNEL_4);
	return (float)adc_raw * 3300.0f / 4095.0f;
}

float leer_voltaje_colector_mv(void){
	uint16_t adc_raw = leer_canal_adc(ADC_CHANNEL_14);
	return (float)adc_raw * 3300.0f / 4095.0f;
}

float leer_corriente_colector_ma(void){
	uint16_t adc_raw_ve = leer_canal_adc(ADC_CHANNEL_14);
	float ve_mv = (float)adc_raw_ve * 3300.0f / 4095.0f;
	return ve_mv / 5.1f;
}

void lightNumber(uint8_t number) {
	// Definiciones de pines para un display de 7 segmentos (a-g)
	// se puede reducir el codigo apagando todos los segmentos primero y luego encendiendo unicamente
	// los necesarios pero se hizo así por claridad

	switch (number) {
	case 0: // Muestra el número 0
		HAL_GPIO_WritePin(SEG_A_GPIO_Port, SEG_A_Pin, GPIO_PIN_RESET); // a
		HAL_GPIO_WritePin(SEG_B_GPIO_Port, SEG_B_Pin, GPIO_PIN_RESET); // b
		HAL_GPIO_WritePin(SEG_C_GPIO_Port, SEG_C_Pin, GPIO_PIN_RESET); // c
		HAL_GPIO_WritePin(SEG_D_GPIO_Port, SEG_D_Pin, GPIO_PIN_RESET); // d
		HAL_GPIO_WritePin(SEG_E_GPIO_Port, SEG_E_Pin, GPIO_PIN_RESET); // e
		HAL_GPIO_WritePin(SEG_F_GPIO_Port, SEG_F_Pin, GPIO_PIN_RESET); // f
		HAL_GPIO_WritePin(SEG_G_GPIO_Port, SEG_G_Pin, GPIO_PIN_SET); // g (apagado)
		break;

	case 1: // Muestra el número 1
		HAL_GPIO_WritePin(SEG_A_GPIO_Port, SEG_A_Pin, GPIO_PIN_SET); // a (apagado)
		HAL_GPIO_WritePin(SEG_B_GPIO_Port, SEG_B_Pin, GPIO_PIN_RESET); // b
		HAL_GPIO_WritePin(SEG_C_GPIO_Port, SEG_C_Pin, GPIO_PIN_RESET); // c
		HAL_GPIO_WritePin(SEG_D_GPIO_Port, SEG_D_Pin, GPIO_PIN_SET); // d (apagado)
		HAL_GPIO_WritePin(SEG_E_GPIO_Port, SEG_E_Pin, GPIO_PIN_SET); // e (apagado)
		HAL_GPIO_WritePin(SEG_F_GPIO_Port, SEG_F_Pin, GPIO_PIN_SET); // f (apagado)
		HAL_GPIO_WritePin(SEG_G_GPIO_Port, SEG_G_Pin, GPIO_PIN_SET); // g (apagado)
		break;

	case 2: // Muestra el número 2
		HAL_GPIO_WritePin(SEG_A_GPIO_Port, SEG_A_Pin, GPIO_PIN_RESET); // a
		HAL_GPIO_WritePin(SEG_B_GPIO_Port, SEG_B_Pin, GPIO_PIN_RESET); // b
		HAL_GPIO_WritePin(SEG_C_GPIO_Port, SEG_C_Pin, GPIO_PIN_SET); // c (apagado)
		HAL_GPIO_WritePin(SEG_D_GPIO_Port, SEG_D_Pin, GPIO_PIN_RESET); // d
		HAL_GPIO_WritePin(SEG_E_GPIO_Port, SEG_E_Pin, GPIO_PIN_RESET); // e
		HAL_GPIO_WritePin(SEG_F_GPIO_Port, SEG_F_Pin, GPIO_PIN_SET); // f (apagado)
		HAL_GPIO_WritePin(SEG_G_GPIO_Port, SEG_G_Pin, GPIO_PIN_RESET); // g
		break;

	case 3: // Muestra el número 3
		HAL_GPIO_WritePin(SEG_A_GPIO_Port, SEG_A_Pin, GPIO_PIN_RESET); // a
		HAL_GPIO_WritePin(SEG_B_GPIO_Port, SEG_B_Pin, GPIO_PIN_RESET); // b
		HAL_GPIO_WritePin(SEG_C_GPIO_Port, SEG_C_Pin, GPIO_PIN_RESET); // c
		HAL_GPIO_WritePin(SEG_D_GPIO_Port, SEG_D_Pin, GPIO_PIN_RESET); // d
		HAL_GPIO_WritePin(SEG_E_GPIO_Port, SEG_E_Pin, GPIO_PIN_SET); // e (apagado)
		HAL_GPIO_WritePin(SEG_F_GPIO_Port, SEG_F_Pin, GPIO_PIN_SET); // f (apagado)
		HAL_GPIO_WritePin(SEG_G_GPIO_Port, SEG_G_Pin, GPIO_PIN_RESET); // g
		break;

	case 4: // Muestra el número 4
		HAL_GPIO_WritePin(SEG_A_GPIO_Port, SEG_A_Pin, GPIO_PIN_SET); // a (apagado)
		HAL_GPIO_WritePin(SEG_B_GPIO_Port, SEG_B_Pin, GPIO_PIN_RESET); // b
		HAL_GPIO_WritePin(SEG_C_GPIO_Port, SEG_C_Pin, GPIO_PIN_RESET); // c
		HAL_GPIO_WritePin(SEG_D_GPIO_Port, SEG_D_Pin, GPIO_PIN_SET); // d (apagado)
		HAL_GPIO_WritePin(SEG_E_GPIO_Port, SEG_E_Pin, GPIO_PIN_SET); // e (apagado)
		HAL_GPIO_WritePin(SEG_F_GPIO_Port, SEG_F_Pin, GPIO_PIN_RESET); // f
		HAL_GPIO_WritePin(SEG_G_GPIO_Port, SEG_G_Pin, GPIO_PIN_RESET); // g
		break;

	case 5: // Muestra el número 5
		HAL_GPIO_WritePin(SEG_A_GPIO_Port, SEG_A_Pin, GPIO_PIN_RESET); // a
		HAL_GPIO_WritePin(SEG_B_GPIO_Port, SEG_B_Pin, GPIO_PIN_SET); // b (apagado)
		HAL_GPIO_WritePin(SEG_C_GPIO_Port, SEG_C_Pin, GPIO_PIN_RESET); // c
		HAL_GPIO_WritePin(SEG_D_GPIO_Port, SEG_D_Pin, GPIO_PIN_RESET); // d
		HAL_GPIO_WritePin(SEG_E_GPIO_Port, SEG_E_Pin, GPIO_PIN_SET); // e (apagado)
		HAL_GPIO_WritePin(SEG_F_GPIO_Port, SEG_F_Pin, GPIO_PIN_RESET); // f
		HAL_GPIO_WritePin(SEG_G_GPIO_Port, SEG_G_Pin, GPIO_PIN_RESET); // g
		break;

	case 6: // Muestra el número 6
		HAL_GPIO_WritePin(SEG_A_GPIO_Port, SEG_A_Pin, GPIO_PIN_RESET); // a
		HAL_GPIO_WritePin(SEG_B_GPIO_Port, SEG_B_Pin, GPIO_PIN_SET); // b (apagado)
		HAL_GPIO_WritePin(SEG_C_GPIO_Port, SEG_C_Pin, GPIO_PIN_RESET); // c
		HAL_GPIO_WritePin(SEG_D_GPIO_Port, SEG_D_Pin, GPIO_PIN_RESET); // d
		HAL_GPIO_WritePin(SEG_E_GPIO_Port, SEG_E_Pin, GPIO_PIN_RESET); // e
		HAL_GPIO_WritePin(SEG_F_GPIO_Port, SEG_F_Pin, GPIO_PIN_RESET); // f
		HAL_GPIO_WritePin(SEG_G_GPIO_Port, SEG_G_Pin, GPIO_PIN_RESET); // g
		break;

	case 7: // Muestra el número 7
		HAL_GPIO_WritePin(SEG_A_GPIO_Port, SEG_A_Pin, GPIO_PIN_RESET); // a
		HAL_GPIO_WritePin(SEG_B_GPIO_Port, SEG_B_Pin, GPIO_PIN_RESET); // b
		HAL_GPIO_WritePin(SEG_C_GPIO_Port, SEG_C_Pin, GPIO_PIN_RESET); // c
		HAL_GPIO_WritePin(SEG_D_GPIO_Port, SEG_D_Pin, GPIO_PIN_SET); // d (apagado)
		HAL_GPIO_WritePin(SEG_E_GPIO_Port, SEG_E_Pin, GPIO_PIN_SET); // e (apagado)
		HAL_GPIO_WritePin(SEG_F_GPIO_Port, SEG_F_Pin, GPIO_PIN_SET); // f (apagado)
		HAL_GPIO_WritePin(SEG_G_GPIO_Port, SEG_G_Pin, GPIO_PIN_SET); // g (apagado)
		break;

	case 8: // Muestra el número 8
		HAL_GPIO_WritePin(SEG_A_GPIO_Port, SEG_A_Pin, GPIO_PIN_RESET); // a
		HAL_GPIO_WritePin(SEG_B_GPIO_Port, SEG_B_Pin, GPIO_PIN_RESET); // b
		HAL_GPIO_WritePin(SEG_C_GPIO_Port, SEG_C_Pin, GPIO_PIN_RESET); // c
		HAL_GPIO_WritePin(SEG_D_GPIO_Port, SEG_D_Pin, GPIO_PIN_RESET); // d
		HAL_GPIO_WritePin(SEG_E_GPIO_Port, SEG_E_Pin, GPIO_PIN_RESET); // e
		HAL_GPIO_WritePin(SEG_F_GPIO_Port, SEG_F_Pin, GPIO_PIN_RESET); // f
		HAL_GPIO_WritePin(SEG_G_GPIO_Port, SEG_G_Pin, GPIO_PIN_RESET); // g
		break;

	case 9: // Muestra el número 9
		HAL_GPIO_WritePin(SEG_A_GPIO_Port, SEG_A_Pin, GPIO_PIN_RESET); // a
		HAL_GPIO_WritePin(SEG_B_GPIO_Port, SEG_B_Pin, GPIO_PIN_RESET); // b
		HAL_GPIO_WritePin(SEG_C_GPIO_Port, SEG_C_Pin, GPIO_PIN_RESET); // c
		HAL_GPIO_WritePin(SEG_D_GPIO_Port, SEG_D_Pin, GPIO_PIN_RESET); // d
		HAL_GPIO_WritePin(SEG_E_GPIO_Port, SEG_E_Pin, GPIO_PIN_SET); // e (apagado)
		HAL_GPIO_WritePin(SEG_F_GPIO_Port, SEG_F_Pin, GPIO_PIN_RESET); // f
		HAL_GPIO_WritePin(SEG_G_GPIO_Port, SEG_G_Pin, GPIO_PIN_RESET); // g
		break;

	default: // Apaga todos los segmentos excepto el g (para indicar error)
		HAL_GPIO_WritePin(SEG_A_GPIO_Port, SEG_A_Pin, GPIO_PIN_SET); // a (apagado)
		HAL_GPIO_WritePin(SEG_B_GPIO_Port, SEG_B_Pin, GPIO_PIN_SET); // b (apagado)
		HAL_GPIO_WritePin(SEG_C_GPIO_Port, SEG_C_Pin, GPIO_PIN_SET); // c (apagado)
		HAL_GPIO_WritePin(SEG_D_GPIO_Port, SEG_D_Pin, GPIO_PIN_SET); // d (apagado)
		HAL_GPIO_WritePin(SEG_E_GPIO_Port, SEG_E_Pin, GPIO_PIN_SET); // e (apagado)
		HAL_GPIO_WritePin(SEG_F_GPIO_Port, SEG_F_Pin, GPIO_PIN_SET); // f (apagado)
		HAL_GPIO_WritePin(SEG_G_GPIO_Port, SEG_G_Pin, GPIO_PIN_RESET); //g
		break;
	}
}

void HAL_UARTEx_RxEventCallback(UART_HandleTypeDef *huart, uint16_t Size)
{
	if (huart->Instance == USART2)
	{
		// Disable HT interrupt to avoid noisy half-transfer events
		//		__HAL_DMA_DISABLE_IT(huart->hdmarx, DMA_IT_HT);

		// Ping-pong: the ISR marks which buffer was filled and immediately
		// rearms the DMA to the alternate buffer so main() can process safely.
		if (g_uart_dma_active == 0)
		{
			// DMA had been writing into buffer A; claim A for processing
			g_uart_proc_buffer = g_uart_rx_buffer_a;
			g_uart_proc_len = Size;

			// Switch DMA to buffer B
			g_uart_dma_active = 1;
			HAL_UARTEx_ReceiveToIdle_DMA(&huart2, g_uart_rx_buffer_b, UART_RX_BUFFER_SIZE);
		}
		else
		{
			// DMA had been writing into buffer B; claim B for processing
			g_uart_proc_buffer = g_uart_rx_buffer_b;
			g_uart_proc_len = Size;

			// Switch DMA to buffer A
			g_uart_dma_active = 0;
			HAL_UARTEx_ReceiveToIdle_DMA(&huart2, g_uart_rx_buffer_a, UART_RX_BUFFER_SIZE);
		}
	}
}

// Callback de TIM: se llama cada vez que vence el periodo (UIF)
void HAL_TIM_PeriodElapsedCallback(TIM_HandleTypeDef *htim)
{
	if(htim->Instance == TIM3) // Interrupción del display
	{
		TIMER_ADVISORY_FLAG = 1; // Subir la bandera para el while(1)
	}
	else if(htim->Instance == TIM2) // Interrupción del blinky
	{
		HAL_GPIO_TogglePin(LED_BLINKY_GPIO_Port, LED_BLINKY_Pin);
	}
}

// Callback general del EXTI: se llama cuando ocurre una interrupción externa
void HAL_GPIO_EXTI_Callback(uint16_t GPIO_Pin)
{
	// Interrupción del giro del encoder
	if(GPIO_Pin == ENCODER_CLK_Pin) // Usar el nombre de CubeMX
	{
		EXTI_AVISORY_FLAG = 1; // Subir la bandera para el while(1)
	}

	// Interrupción del switch (botón) del encoder
	else if (GPIO_Pin == ENCODER_SW_Pin) // Usar el nombre de CubeMX
	{
		EXTI_AVISORY_LED_FLAG = 1;
	}
}

/* USER CODE END 4 */

void Error_Handler(void)
{
	__disable_irq();
	while (1)
	{
	}
}
